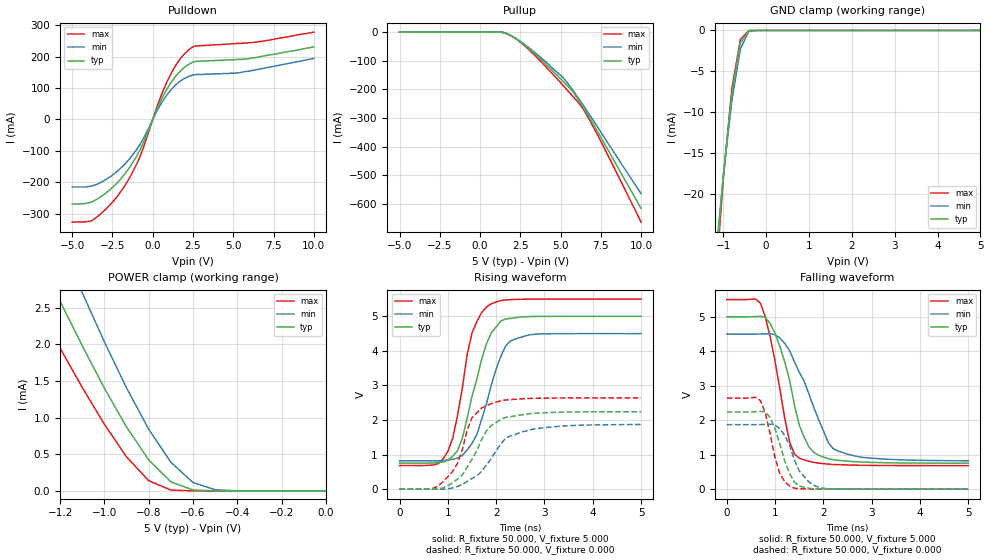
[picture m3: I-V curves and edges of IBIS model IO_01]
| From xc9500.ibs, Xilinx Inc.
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|   Model IO_01
[Model]   IO_01
Model_type   I/O
Polarity   Non-Inverting
Enable   Active-High
Vinl =   0.800V
Vinh =   2.000V
Vmeas =   2.500V
Cref =  50.000pF
Rref =   1.000M
Vref =  0.000V
C_comp   8.000pF   6.000pF   10.000pF
[Temperature Range]   50.000   100.000   0.000
[Voltage Range]   5.000V   4.500V   5.500V
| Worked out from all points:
|   slope of the pulldown table from 0 to 0.75 V, typ, clamps not added: 8.86 ohm
|   GND clamp passes 1 mA (typ) near -0.53 V on its own axis
|   POWER clamp passes 1 mA (typ) near -0.92 V on its own axis
|   rising waveform, R_fixture 50.000, V_fixture 5.000: 20-80 % time 464ps typ, 485ps min, 379ps max; typ from 0.752 V to 5 V
|   rising waveform, R_fixture 50.000, V_fixture 0.000: 20-80 % time 550ps typ, 630ps min, 427ps max; typ from 0 V to 2.24 V
|   falling waveform, R_fixture 50.000, V_fixture 5.000: 20-80 % time 477ps typ, 660ps min, 382ps max; typ from 5 V to 0.753 V
|   falling waveform, R_fixture 50.000, V_fixture 0.000: 20-80 % time 315ps typ, 374ps min, 267ps max; typ from 2.24 V to 0 V
[Pulldown]
| voltage   I(typ)   I(min)   I(max)
-5V       -269mA     -215mA     -327mA
-3.8V     -263mA     -212mA     -323mA
-2.6V     -221mA     -181mA     -269mA
-1.8V     -178mA     -146mA     -216mA
-800mV    -97.55mA   -79.99mA   -119mA
300mV     37.26mA    30.39mA    45.54mA
900mV     98.33mA    79.25mA    122mA
1.5V      142mA      113mA      178mA
2.2V      174mA      136mA      220mA
2.6V      184mA      142mA      234mA
5.3V      191mA      148mA      242mA
10V       231mA      194mA      278mA
[Pullup]
| voltage   I(typ)   I(min)   I(max)
-5V       0A         0A         0A
1.3V      -273uA     -843uA     -21.01uA
1.8V      -9.1mA     -9.856mA   -8.419mA
2.4V      -29.57mA   -28.78mA   -30.92mA
3.6V      -85.9mA    -80.57mA   -92.72mA
5.1V      -169mA     -156mA     -183mA
5.6V      -197mA     -191mA     -214mA
5.8V      -211mA     -206mA     -227mA
6.4V      -262mA     -255mA     -268mA
6.8V      -299mA     -289mA     -307mA
7.6V      -377mA     -358mA     -392mA
10V       -616mA     -564mA     -664mA
[GND_clamp]
| voltage   I(typ)   I(min)   I(max)
-5V       -382mA     -334mA     -435mA
-1.2V     -30.21mA   -28.94mA   -32.31mA
-1V       -17.79mA   -17.84mA   -18.17mA
-800mV    -7.754mA   -8.624mA   -7.105mA
-600mV    -1.523mA   -2.242mA   -1.096mA
-400mV    -25.36uA   -70.36uA   -7.543uA
5V        1.077nA    15.87uA    68.4pA
[POWER_clamp]
| voltage   I(typ)   I(min)   I(max)
-5V       28.53mA    33.14mA    24.98mA
-1.4V     3.852mA    4.851mA    3.071mA
-1.3V     3.213mA    4.12mA     2.503mA
-1.2V     2.588mA    3.403mA    1.948mA
-1.1V     1.981mA    2.705mA    1.412mA
-1V       1.402mA    2.034mA    909uA
-900mV    872uA      1.405mA    464uA
-800mV    423uA      842uA      139uA
-700mV    123uA      391uA      11.97uA
-600mV    13.69uA    114uA      250nA
-500mV    553nA      15.87uA    3.499nA
0V        1.077nA    10.78nA    86.2pA
[Ramp]
| variable   typ   min   max
dV/dt_r   1.344/0.535n   1.122/0.666n   1.584/0.439n
dV/dt_f   2.548/0.479n   2.206/0.639n   2.890/0.373n
R_load = 50.000
[Rising Waveform]
R_fixture = 50.000
V_fixture = 5.000
V_fixture_min = 4.500
V_fixture_max = 5.500
L_fixture = 0.000H
C_fixture = 0.000F
| time   V(typ)   V(min)   V(max)
0s        752mV      820mV      683mV
800ps     766mV      822mV      738mV
1ns       836mV      843mV      1.09V
1.1ns     953mV      864mV      1.469V
1.3ns     1.466V     976mV      2.924V
1.5ns     2.685V     1.323V     4.516V
1.8ns     4.209V     2.475V     5.272V
2.1ns     4.866V     3.852V     5.455V
2.3ns     4.942V     4.292V     5.482V
5ns       4.999V     4.499V     5.499V
[Rising Waveform]
R_fixture = 50.000
V_fixture = 0.000
V_fixture_min = 0.000
V_fixture_max = 0.000
L_fixture = 0.000H
C_fixture = 0.000F
| time   V(typ)   V(min)   V(max)
0s        0V         0V         0V
600ps     -382uV     -10.69uV   -255uV
900ps     38.65mV    374uV      211mV
1.2ns     290mV      78.77mV    746mV
1.5ns     863mV      312mV      2.065V
1.8ns     1.689V     697mV      2.415V
1.9ns     1.843V     887mV      2.476V
2.2ns     2.075V     1.482V     2.579V
2.8ns     2.197V     1.748V     2.629V
5ns       2.24V      1.87V      2.64V
[Falling Waveform]
R_fixture = 50.000
V_fixture = 5.000
V_fixture_min = 4.500
V_fixture_max = 5.500
L_fixture = 0.000H
C_fixture = 0.000F
| time   V(typ)   V(min)   V(max)
0s        5V         4.5V       5.5V
700ps     5.014V     4.502V     5.387V
900ps     4.798V     4.511V     4.405V
1.1ns     4.139V     4.385V     2.895V
1.3ns     3.168V     4.021V     1.369V
1.5ns     1.859V     3.394V     899mV
1.8ns     1.068V     2.373V     778mV
2.2ns     856mV      1.178V     715mV
2.9ns     780mV      911mV      691mV
5ns       753mV      824mV      683mV
[Falling Waveform]
R_fixture = 50.000
V_fixture = 0.000
V_fixture_min = 0.000
V_fixture_max = 0.000
L_fixture = 0.000H
C_fixture = 0.000F
| time   V(typ)   V(min)   V(max)
0s        2.241V     1.872V     2.64V
700ps     2.257V     1.874V     2.563V
800ps     2.238V     1.88V      2.197V
900ps     2.073V     1.887V     1.589V
1.1ns     1.301V     1.753V     441mV
1.3ns     453mV      1.273V     92.12mV
1.4ns     207mV      844mV      30.31mV
1.7ns     22.53mV    209mV      7.037mV
2ns       6.579mV    27.45mV    3.527mV
5ns       15.9uV     151uV      -5.869uV
